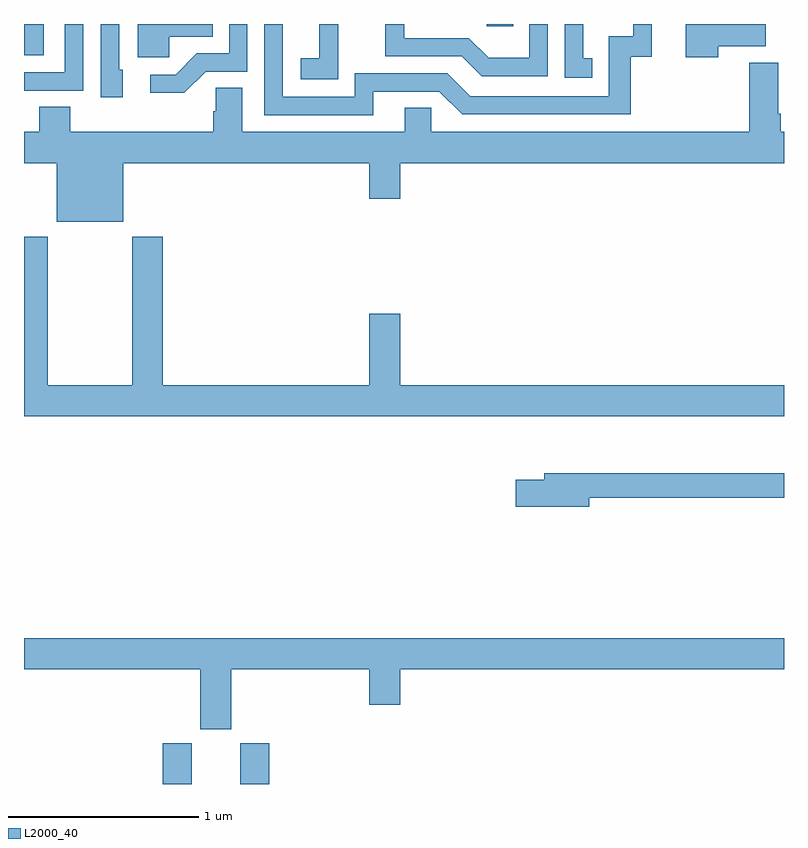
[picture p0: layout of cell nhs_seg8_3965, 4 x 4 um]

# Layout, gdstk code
import gdstk
lib = gdstk.Library(unit=1e-6, precision=1e-09)
def R(c, l, rs):  # rectangles x0, y0, x1, y1
    for r in rs: c.add(gdstk.rectangle(r[:2], r[2:], *l))
def P(c, l, *ps):  # polygons
    for p in ps: c.add(gdstk.Polygon(p, *l))
L2000_40 = (2000, 40)

nhs_seg8_3965 = lib.new_cell('nhs_seg8_3965')
R(nhs_seg8_3965, L2000_40, [(355.73,1111.9,355.882,1112.115), (356.138,1111.9,356.291,1112.115), (355,1115.735,355.105,1115.9), (357.435,1115.889,357.575,1115.9)])
P(nhs_seg8_3965, L2000_40, [(355.764,1115.834),(355.994,1115.834),(355.994,1115.9),(355.598,1115.9),(355.598,1115.726),(355.764,1115.726)],
  [(357.756,1115.9),(357.66,1115.9),(357.66,1115.722),(357.446,1115.722),(357.342,1115.826),(357,1115.826),(357,1115.9),(356.902,1115.9),(356.902,1115.73),(357.305,1115.73),(357.41,1115.625),(357.756,1115.625)],
  [(355.311,1115.9),(355.215,1115.9),(355.215,1115.646),(355,1115.646),(355,1115.55),(355.311,1115.55)],
  [(356.655,1115.815),(356.654,1115.815),(356.654,1115.9),(356.555,1115.9),(356.555,1115.719),(356.457,1115.719),(356.457,1115.609),(356.655,1115.609)],
  [(358.655,1115.783),(358.903,1115.783),(358.903,1115.9),(358.484,1115.9),(358.484,1115.724),(358.655,1115.724)],
  [(356.839,1115.544),(357.186,1115.544),(357.306,1115.424),(358.193,1115.424),(358.193,1115.727),(358.304,1115.727),(358.304,1115.9),(358.206,1115.9),(358.206,1115.835),(358.077,1115.835),(358.077,1115.52),(357.348,1115.52),(357.228,1115.64),(356.742,1115.64),(356.742,1115.517),(356.361,1115.517),(356.361,1115.9),(356.265,1115.9),(356.265,1115.421),(356.839,1115.421)],
  [(355.519,1115.658),(355.5,1115.658),(355.5,1115.9),(355.404,1115.9),(355.404,1115.514),(355.519,1115.514)],
  [(355.956,1115.649),(356.175,1115.649),(356.175,1115.9),(356.079,1115.9),(356.079,1115.745),(355.91,1115.745),(355.799,1115.634),(355.665,1115.634),(355.665,1115.537),(355.843,1115.537)],
  [(357.992,1115.721),(357.943,1115.721),(357.943,1115.9),(357.846,1115.9),(357.846,1115.616),(357.992,1115.616)],
  [(355.522,1115.168),(356.816,1115.168),(356.816,1114.98),(356.98,1114.98),(356.98,1115.168),(359,1115.168),(359,1115.332),(358.982,1115.332),(358.982,1115.428),(358.969,1115.428),(358.969,1115.695),(358.817,1115.695),(358.817,1115.332),(357.144,1115.332),(357.144,1115.459),(357.005,1115.459),(357.005,1115.332),(356.149,1115.332),(356.149,1115.564),(356.01,1115.564),(356.01,1115.441),(355.997,1115.441),(355.997,1115.332),(355.244,1115.332),(355.244,1115.465),(355.079,1115.465),(355.079,1115.332),(355,1115.332),(355,1115.168),(355.172,1115.168),(355.172,1114.859),(355.522,1114.859)],
  [(359,1114),(356.98,1114),(356.98,1114.375),(356.816,1114.375),(356.816,1114),(355.73,1114),(355.73,1114.78),(355.57,1114.78),(355.57,1114),(355.125,1114),(355.125,1114.78),(355,1114.78),(355,1113.836),(359,1113.836)],
  [(357.976,1113.406),(359,1113.406),(359,1113.535),(357.737,1113.535),(357.737,1113.501),(357.588,1113.501),(357.588,1113.359),(357.976,1113.359)],
  [(356.092,1112.504),(356.816,1112.504),(356.816,1112.316),(356.98,1112.316),(356.98,1112.504),(359,1112.504),(359,1112.668),(355,1112.668),(355,1112.504),(355.928,1112.504),(355.928,1112.187),(356.092,1112.187)])

lib.write_gds('nhs_seg8_3965.gds')
